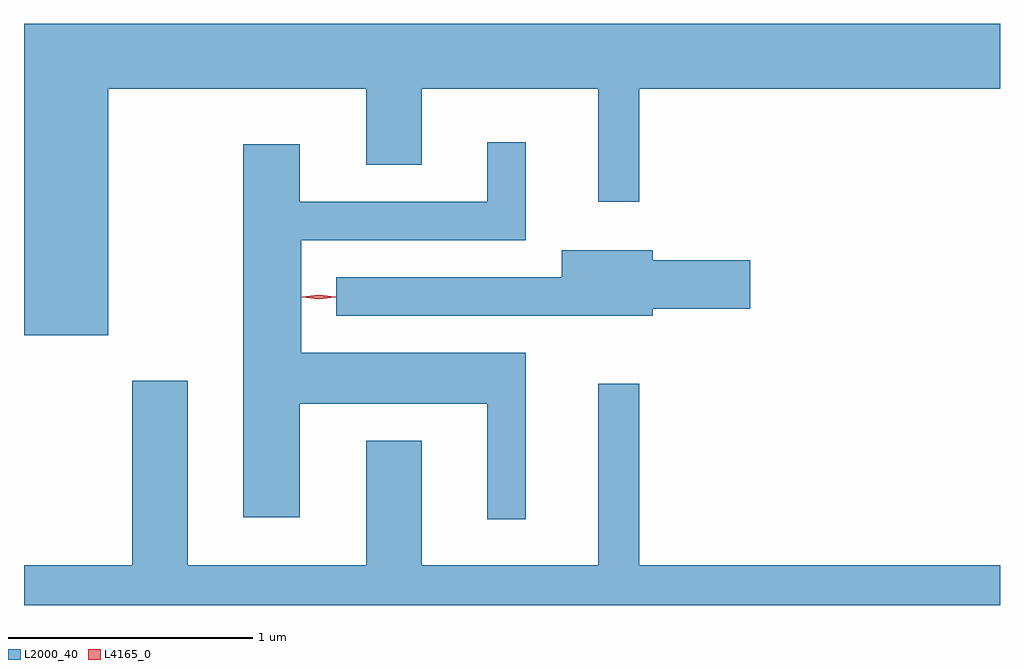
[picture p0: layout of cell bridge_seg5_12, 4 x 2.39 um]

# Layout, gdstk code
import gdstk
lib = gdstk.Library(unit=1e-6, precision=1e-09)
def P(c, l, *ps):  # polygons
    for p in ps: c.add(gdstk.Polygon(p, *l))
L2000_40 = (2000, 40)
L4165_0 = (4165, 0)

bridge_seg5_12 = lib.new_cell('bridge_seg5_12')
P(bridge_seg5_12, L2000_40, [(1788.724,1401.296),(1789.781,1401.296),(1789.781,1400.986),(1790.009,1400.986),(1790.009,1401.296),(1790.731,1401.296),(1790.731,1400.833),(1790.899,1400.833),(1790.899,1401.296),(1792.378,1401.296),(1792.378,1401.564),(1788.378,1401.564),(1788.378,1400.286),(1788.724,1400.286)],
  [(1790.434,1400.214),(1789.514,1400.214),(1789.514,1400.676),(1790.434,1400.676),(1790.434,1401.078),(1790.276,1401.078),(1790.276,1400.834),(1789.509,1400.834),(1789.509,1401.069),(1789.276,1401.069),(1789.276,1399.541),(1789.509,1399.541),(1789.509,1400.006),(1790.276,1400.006),(1790.276,1399.533),(1790.434,1399.533)],
  [(1790.954,1400.396),(1791.354,1400.396),(1791.354,1400.594),(1790.954,1400.594),(1790.954,1400.634),(1790.581,1400.634),(1790.581,1400.524),(1789.658,1400.524),(1789.658,1400.366),(1790.954,1400.366)],
  [(1792.378,1399.344),(1790.899,1399.344),(1790.899,1400.088),(1790.731,1400.088),(1790.731,1399.344),(1790.009,1399.344),(1790.009,1399.854),(1789.781,1399.854),(1789.781,1399.344),(1789.049,1399.344),(1789.049,1400.099),(1788.821,1400.099),(1788.821,1399.344),(1788.378,1399.344),(1788.378,1399.179),(1792.378,1399.179)])
P(bridge_seg5_12, L4165_0, [(1789.587,1400.433),(1789.518,1400.443),(1789.517,1400.443),(1789.518,1400.444),(1789.587,1400.453),(1789.656,1400.444),(1789.656,1400.443),(1789.656,1400.443)],
  [(1789.587,1400.433),(1789.521,1400.443),(1789.52,1400.443),(1789.521,1400.444),(1789.587,1400.453),(1789.652,1400.444),(1789.653,1400.443),(1789.652,1400.443)])

lib.write_gds('bridge_seg5_12.gds')
